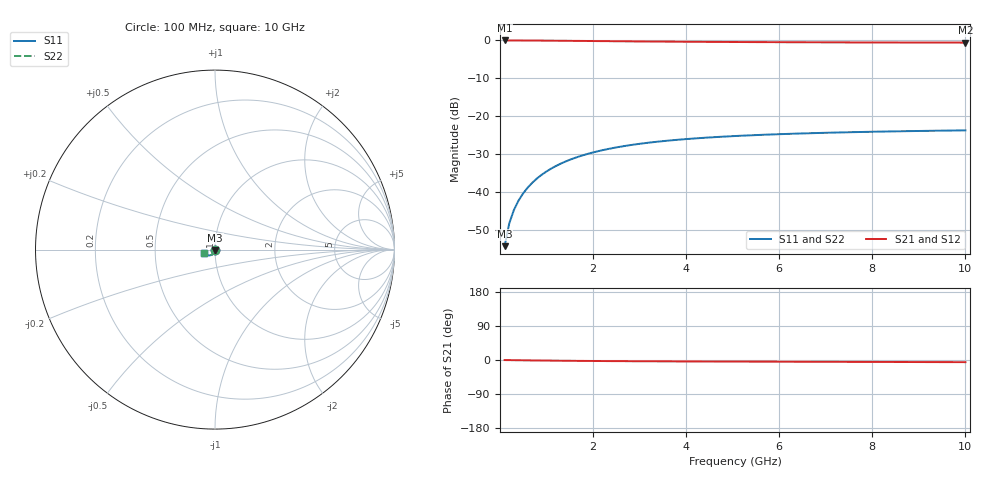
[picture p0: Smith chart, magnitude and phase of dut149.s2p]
! Touchstone file exported from HFSS 2024.1.0
!  File:  C:/UserFiles/LocalFiles/RDL_TSV_Batchsim/temp_TSV1_149_1779381338.aedt
!  Generated:  12:40:20 AM May 22, 2026
!  Design:  TSV1
!  Project:  temp_TSV1_149_1779381338
!  Setup:  Setup1
!  Solution:  Sweep
! Variables:
!  dtsv = 14.14um
!  hbump = 3um
!  htsv = 88.28um
!  lrdl = 252.1521522um
!  p = 40
!  p1 = 51.94um
!  t = 500um
!  trdl = 3um
!  wrdl = 24.89489489um
# GHz S MA R 50.000000
! Terminal data exported
! Port[1] = TSV22_T1
! Port[2] = TSV22_T2
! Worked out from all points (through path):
!   100 points, 100 MHz to 10 GHz, reference 50 ohm
!   highest |S21| = 0.00 dB at 100 MHz (marker M1); lowest = -0.6 dB at 10 GHz (marker M2)
!   lowest |S11| = -54.1 dB at 100 MHz (marker M3), VSWR 1.00, Z = 50 - j0.197 ohm
!   |S11| at or under -10 dB: start of sweep to end of sweep
!   |S22| runs from -54.1 to -23.7 dB; largest |S21 - S12| = 1e-14
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0.1  0.001966 -89.2  0.9998 -0.2  0.9998 -0.2  0.001966 -89.2
! Gamma 0 0 0 0
! Port Impedance 50 0 50 0
0.2  0.003929 -92.1  0.9996 -0.3  0.9996 -0.3  0.003929 -92.1
0.3  0.00589 -94.3  0.9993 -0.5  0.9993 -0.5  0.00589 -94.3
0.4  0.007839 -96.2  0.9989 -0.6  0.9989 -0.6  0.007839 -96.2
0.5  0.009767 -98.1  0.9983 -0.8  0.9983 -0.8  0.009767 -98.1
0.6  0.01167 -100.0  0.9977 -0.9  0.9977 -0.9  0.01167 -100.0
0.7  0.01354 -101.8  0.9969 -1.1  0.9969 -1.1  0.01354 -101.8
0.8  0.01537 -103.6  0.9961 -1.2  0.9961 -1.2  0.01537 -103.6
0.9  0.01716 -105.3  0.9952 -1.4  0.9952 -1.4  0.01716 -105.3
1.1  0.0206 -108.6  0.9932 -1.6  0.9932 -1.6  0.0206 -108.6
1.4  0.02541 -113.3  0.9898 -2.0  0.9898 -2.0  0.02541 -113.3
1.6  0.02835 -116.3  0.9874 -2.2  0.9874 -2.2  0.02835 -116.3
1.8  0.03109 -119.1  0.9849 -2.4  0.9849 -2.4  0.03109 -119.1
2.1  0.03482 -123.0  0.9812 -2.7  0.9812 -2.7  0.03482 -123.0
2.5  0.03915 -127.6  0.9764 -3.0  0.9764 -3.0  0.03915 -127.6
2.9  0.04283 -131.7  0.9718 -3.2  0.9718 -3.2  0.04283 -131.7
3.4  0.04667 -136.3  0.9667 -3.5  0.9667 -3.5  0.04667 -136.3
4.2  0.05146 -142.3  0.9598 -3.8  0.9598 -3.8  0.05146 -142.3
5.1  0.05545 -147.7  0.9536 -4.2  0.9536 -4.2  0.05545 -147.7
6.7  0.06028 -155.1  0.9457 -4.7  0.9457 -4.7  0.06028 -155.1
8.4  0.06355 -161.0  0.9401 -5.2  0.9401 -5.2  0.06355 -161.0
10  0.06563 -165.4  0.9364 -5.7  0.9364 -5.7  0.06563 -165.4
